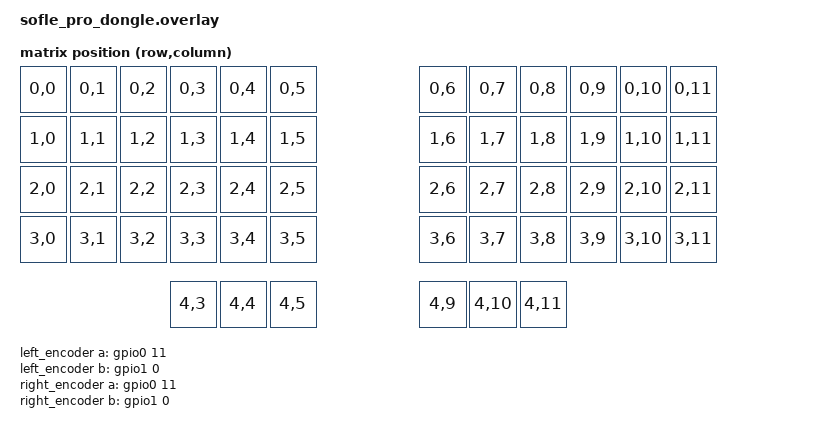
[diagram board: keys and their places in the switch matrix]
#include <dt-bindings/zmk/matrix_transform.h>
#include <physical_layouts.dtsi>
#include <zephyr/dt-bindings/mipi_dbi/mipi_dbi.h>

/ {
	chosen {
		zmk,kscan = &mock_kscan;
		zmk,physical-layout = &physical_layout0;
		zmk,battery = &vbatt;
		zephyr,display = &display0;
	};

	mock_kscan: mock_kscan_0 {
		compatible = "zmk,kscan-mock";
		columns = <0>;
		rows = <0>;
		events = <0>;
	};

	default_transform: keymap_transform_0 {
		compatible = "zmk,matrix-transform";
		columns = <12>;
		rows = <5>;
		map = <
		RC(0,0) RC(0,1) RC(0,2) RC(0,3) RC(0,4) RC(0,5)     RC(0,6) RC(0,7) RC(0,8) RC(0,9) RC(0,10) RC(0,11)
		RC(1,0) RC(1,1) RC(1,2) RC(1,3) RC(1,4) RC(1,5)     RC(1,6) RC(1,7) RC(1,8) RC(1,9) RC(1,10) RC(1,11)
		RC(2,0) RC(2,1) RC(2,2) RC(2,3) RC(2,4) RC(2,5)     RC(2,6) RC(2,7) RC(2,8) RC(2,9) RC(2,10) RC(2,11)
		RC(3,0) RC(3,1) RC(3,2) RC(3,3) RC(3,4) RC(3,5)     RC(3,6) RC(3,7) RC(3,8) RC(3,9) RC(3,10) RC(3,11)
		                        RC(4,3) RC(4,4) RC(4,5)     RC(4,9) RC(4,10) RC(4,11)
		>;
	};

	physical_layout0: physical_layout_0 {
		compatible = "zmk,physical-layout";
		display-name = "Default Layout";
		transform = <&default_transform>;
		kscan = <&mock_kscan>;
		keys
		= <&key_physical_attrs 100 100    0    0       0     0     0>
		, <&key_physical_attrs 100 100  100    0       0     0     0>
		, <&key_physical_attrs 100 100  200    0       0     0     0>
		, <&key_physical_attrs 100 100  300    0       0     0     0>
		, <&key_physical_attrs 100 100  400    0       0     0     0>
		, <&key_physical_attrs 100 100  500    0       0     0     0>
		, <&key_physical_attrs 100 100  800    0       0     0     0>
		, <&key_physical_attrs 100 100  900    0       0     0     0>
		, <&key_physical_attrs 100 100 1000    0       0     0     0>
		, <&key_physical_attrs 100 100 1100    0       0     0     0>
		, <&key_physical_attrs 100 100 1200    0       0     0     0>
		, <&key_physical_attrs 100 100 1300    0       0     0     0>
		, <&key_physical_attrs 100 100    0  100       0     0     0>
		, <&key_physical_attrs 100 100  100  100       0     0     0>
		, <&key_physical_attrs 100 100  200  100       0     0     0>
		, <&key_physical_attrs 100 100  300  100       0     0     0>
		, <&key_physical_attrs 100 100  400  100       0     0     0>
		, <&key_physical_attrs 100 100  500  100       0     0     0>
		, <&key_physical_attrs 100 100  800  100       0     0     0>
		, <&key_physical_attrs 100 100  900  100       0     0     0>
		, <&key_physical_attrs 100 100 1000  100       0     0     0>
		, <&key_physical_attrs 100 100 1100  100       0     0     0>
		, <&key_physical_attrs 100 100 1200  100       0     0     0>
		, <&key_physical_attrs 100 100 1300  100       0     0     0>
		, <&key_physical_attrs 100 100    0  200       0     0     0>
		, <&key_physical_attrs 100 100  100  200       0     0     0>
		, <&key_physical_attrs 100 100  200  200       0     0     0>
		, <&key_physical_attrs 100 100  300  200       0     0     0>
		, <&key_physical_attrs 100 100  400  200       0     0     0>
		, <&key_physical_attrs 100 100  500  200       0     0     0>
		, <&key_physical_attrs 100 100  800  200       0     0     0>
		, <&key_physical_attrs 100 100  900  200       0     0     0>
		, <&key_physical_attrs 100 100 1000  200       0     0     0>
		, <&key_physical_attrs 100 100 1100  200       0     0     0>
		, <&key_physical_attrs 100 100 1200  200       0     0     0>
		, <&key_physical_attrs 100 100 1300  200       0     0     0>
		, <&key_physical_attrs 100 100    0  300       0     0     0>
		, <&key_physical_attrs 100 100  100  300       0     0     0>
		, <&key_physical_attrs 100 100  200  300       0     0     0>
		, <&key_physical_attrs 100 100  300  300       0     0     0>
		, <&key_physical_attrs 100 100  400  300       0     0     0>
		, <&key_physical_attrs 100 100  500  300       0     0     0>
		, <&key_physical_attrs 100 100  800  300       0     0     0>
		, <&key_physical_attrs 100 100  900  300       0     0     0>
		, <&key_physical_attrs 100 100 1000  300       0     0     0>
		, <&key_physical_attrs 100 100 1100  300       0     0     0>
		, <&key_physical_attrs 100 100 1200  300       0     0     0>
		, <&key_physical_attrs 100 100 1300  300       0     0     0>
		, <&key_physical_attrs 100 100  300  430       0     0     0>
		, <&key_physical_attrs 100 100  400  430       0     0     0>
		, <&key_physical_attrs 100 100  500  430       0     0     0>
		, <&key_physical_attrs 100 100  800  430       0     0     0>
		, <&key_physical_attrs 100 100  900  430       0     0     0>
		, <&key_physical_attrs 100 100 1000  430       0     0     0>
		;
	};

	left_encoder: left_encoder {
		compatible = "alps,ec11";
		a-gpios = <&gpio0 11 (GPIO_ACTIVE_HIGH | GPIO_PULL_UP)>;
		b-gpios = <&gpio1 0 (GPIO_ACTIVE_HIGH | GPIO_PULL_UP)>;
		steps = <15>;
		status = "disabled";
	};

	right_encoder: right_encoder {
		compatible = "alps,ec11";
		a-gpios = <&gpio0 11 (GPIO_ACTIVE_HIGH | GPIO_PULL_UP)>;
		b-gpios = <&gpio1 0 (GPIO_ACTIVE_HIGH | GPIO_PULL_UP)>;
		steps = <15>;
		status = "disabled";
	};

	sensors: sensors {
		compatible = "zmk,keymap-sensors";
		sensors = <&left_encoder &right_encoder>;
	};

	mipi_dbi {
		compatible = "zephyr,mipi-dbi-spi";
		dc-gpios = <&gpio0 22 GPIO_ACTIVE_HIGH>;      /* PCB: EPD_DC, nice!nano D4 */
		reset-gpios = <&gpio1 0 GPIO_ACTIVE_LOW>;     /* PCB: EPD_RST, nice!nano E6 */
		spi-dev = <&spi1>;
		write-only;
		#address-cells = <1>;
		#size-cells = <0>;

		display0: display@0 {
			compatible = "solomon,ssd1680";
			status = "okay";
			reg = <0>;
			width = <152>;
			height = <152>;
			rotation = <90>;

			mipi-max-frequency = <4000000>;
			busy-gpios = <&gpio0 11 GPIO_ACTIVE_HIGH>; /* PCB: EPD_BUSY, nice!nano D7 */
			tssv = <0x80>;

			full {
				border-waveform = <0x05>;
			};

			partial {
				border-waveform = <0x05>;
				dummy-line = <0x1a>;
				gate-line-width = <0x08>;
				vcom = <0x22>;
				lut = [
				00 40 00 00 00 00 00 00 00 00 00 00
				80 80 00 00 00 00 00 00 00 00 00 00
				40 40 00 00 00 00 00 00 00 00 00 00
				00 80 00 00 00 00 00 00 00 00 00 00
				00 00 00 00 00 00 00 00 00 00 00 00

				0F 00 00 00 00 00 00
				01 01 00 00 00 00 00
				00 00 00 00 00 00 00
				00 00 00 00 00 00 00
				00 00 00 00 00 00 00
				00 00 00 00 00 00 00
				00 00 00 00 00 00 00
				00 00 00 00 00 00 00
				00 00 00 00 00 00 00
				00 00 00 00 00 00 00
				00 00 00 00 00 00 00
				00 00 00 00 00 00 00

				22 22 22 22 22 22 00 00 00
				];
			};
		};
	};

	tps65_listener: tps65_listener {
		compatible = "zmk,input-listener";
		status = "okay";
		device = <&tps65>;
	};

	vbatt: vbatt {
		compatible = "zmk,battery-nrf-vddh";
	};
};

&spi1 {
	status = "okay";
	cs-gpios = <&gpio0 24 GPIO_ACTIVE_LOW>; /* PCB: EPD_CS, nice!nano B6 */
};

&i2c0 {
	compatible = "nordic,nrf-twim";
	status = "okay";
	clock-frequency = <400000>;

	tps65: iqs5xx@74 {
		compatible = "azoteq,iqs5xx";
		reg = <0x74>;
		status = "okay";

		rdy-gpios = <&gpio0 6 GPIO_ACTIVE_HIGH>;     /* PCB: TPS_RDY, nice!nano TX */
		reset-gpios = <&gpio0 8 GPIO_ACTIVE_LOW>;    /* PCB: TPS_NRST, nice!nano RX */

		one-finger-tap;
		two-finger-tap;
		press-and-hold;
		press-and-hold-time = <250>;

		scroll;
		natural-scroll-x;
		natural-scroll-y;

		bottom-beta = <5>;
		stationary-threshold = <5>;
	};
};
